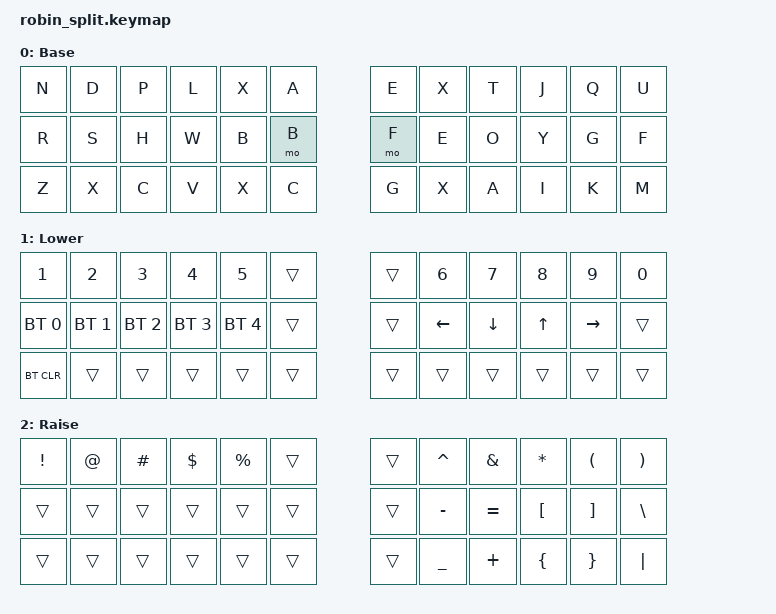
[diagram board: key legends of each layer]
/*
 * Robin's Split Keyboard - Default Keymap (3x5+3, Layout A)
 * SPDX-License-Identifier: MIT
 */

#include <behaviors.dtsi>
#include <dt-bindings/zmk/keys.h>
#include <dt-bindings/zmk/bt.h>

/ {
    keymap {
        compatible = "zmk,keymap";

        default_layer {
            display-name = "Base";
            // ---------------------------------------------------------------------------------
            // Left:                              Right:
            // |  N  |  W  |  E  |  R  |  T  | GUI |   | ALT |  Y  |  U  |  I  |  O  |  P  |
            // |  A  |  S  |  D  |  F  |  G  | LWR |   | RSE |  H  |  J  |  K  |  L  | ; : |
            // |  Z  |  X  |  C  |  V  |  B  | SPC |   | ENT |  N  |  M  | , < | . > | / ? |
            //
            // Note: Thumbs are rightmost key in each row (positions 5, 11, 17)
            bindings = <
                &kp N &kp D &kp P &kp L &kp X &kp A       &kp E    &kp X &kp T  &kp J     &kp Q   &kp U
                &kp R &kp S &kp H &kp W &kp B &mo B       &mo F    &kp E &kp O  &kp Y     &kp G   &kp F
                &kp Z &kp X &kp C &kp V &kp X &kp C       &kp G    &kp X &kp A  &kp I     &kp K   &kp M
            >;
        };

        lower_layer {
            display-name = "Lower";
            // ---------------------------------------------------------------------------------
            // |  1  |  2  |  3  |  4  |  5  |     |   |     |  6  |  7  |  8  |  9  |  0  |
            // | BT1 | BT2 | BT3 | BT4 | BT5 |     |   |     | LFT | DWN |  UP | RGT |     |
            // |BTCLR|     |     |     |     |     |   |     |     |     |     |     |     |
            bindings = <
                &kp N1       &kp N2       &kp N3       &kp N4       &kp N5       &trans    &trans &kp N6   &kp N7   &kp N8 &kp N9    &kp N0
                &bt BT_SEL 0 &bt BT_SEL 1 &bt BT_SEL 2 &bt BT_SEL 3 &bt BT_SEL 4 &trans    &trans &kp LEFT &kp DOWN &kp UP &kp RIGHT &trans
                &bt BT_CLR   &trans       &trans       &trans       &trans       &trans    &trans &trans   &trans   &trans &trans    &trans
            >;
        };

        raise_layer {
            display-name = "Raise";
            // ---------------------------------------------------------------------------------
            // |  !  |  @  |  #  |  $  |  %  |     |   |     |  ^  |  &  |  *  |  (  |  )  |
            // |     |     |     |     |     |     |   |     |  -  |  =  |  [  |  ]  |  \  |
            // |     |     |     |     |     |     |   |     |  _  |  +  |  {  |  }  |  |  |
            bindings = <
                &kp EXCL &kp AT &kp HASH &kp DLLR &kp PRCNT &trans    &trans &kp CARET &kp AMPS  &kp ASTRK &kp LPAR &kp RPAR
                &trans   &trans &trans   &trans   &trans    &trans    &trans &kp MINUS &kp EQUAL &kp LBKT  &kp RBKT &kp BSLH
                &trans   &trans &trans   &trans   &trans    &trans    &trans &kp UNDER &kp PLUS  &kp LBRC  &kp RBRC &kp PIPE
            >;
        };
    };
};
